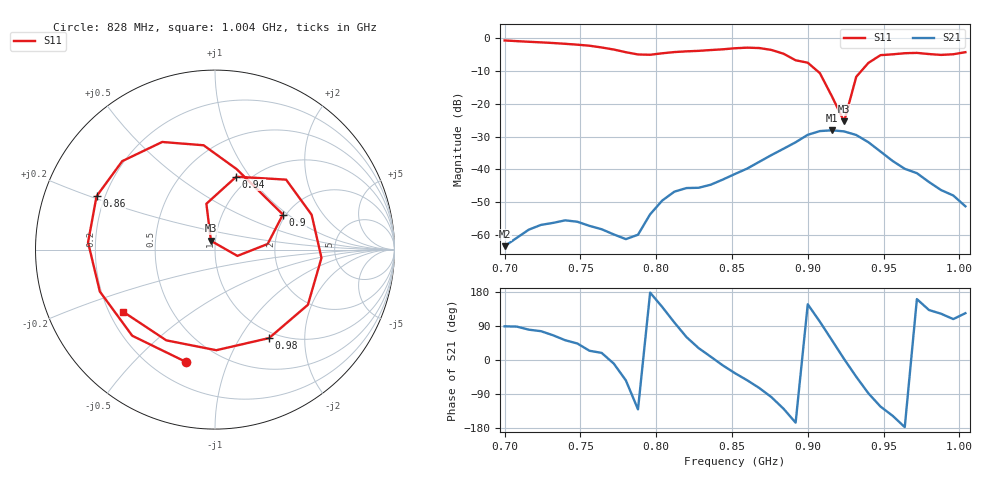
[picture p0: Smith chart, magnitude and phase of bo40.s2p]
# Hz S RI R 50
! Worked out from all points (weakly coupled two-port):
!   39 points, 700 MHz to 1.004 GHz, reference 50 ohm
!   highest |S21| = -28.08 dB at 916 MHz (marker M1); lowest = -63.5 dB at 700 MHz (marker M2)
!   lowest |S11| = -25.4 dB at 924 MHz (marker M3), VSWR 1.11, Z = 47.6 + j4.67 ohm
!   |S11| at or under -10 dB: 906.5 MHz to 935.2 MHz (28.74 MHz wide, 3.12 % of centre)
!   S12 and S22 are empty: the file has one direction only
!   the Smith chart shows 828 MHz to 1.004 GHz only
!   S11 on the Smith chart (normalised r, x): 828 MHz: 0.33, -0.72; 860 MHz: 0.17, +0.21; 900 MHz: 1.93, +0.92; 940 MHz: 0.87, +0.86; 980 MHz: 0.91, -1.35; 1.004 GHz: 0.26, -0.29
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7e8  0.7673 0.5299  1.31e-05 0.000667  0 0  0 0
7.24e8  0.8305 -0.2658  0.000341 0.00137  0 0  0 0
7.4e8  0.4413 -0.7011  0.00102 0.00131  0 0  0 0
7.56e8  -0.2022 -0.7476  0.00124 0.000563  0 0  0 0
7.72e8  -0.6547 -0.1749  0.000996 -0.000164  0 0  0 0
7.8e8  -0.564 0.2491  0.000505 -0.00069  0 0  0 0
7.88e8  -0.1934 0.5355  -0.000645 -0.000762  0 0  0 0
8.04e8  0.5842 0.1049  -0.00254 0.00214  0 0  0 0
8.2e8  0.2119 -0.599  0.00255 0.00449  0 0  0 0
8.28e8  -0.1605 -0.6265  0.00445 0.00272  0 0  0 0
8.52e8  -0.7073 0.0401  0.00696 -0.00484  0 0  0 0
8.6e8  -0.66 0.2971  0.0061 -0.00822  0 0  0 0
8.84e8  -0.0636 0.5813  -0.0128 -0.0161  0 0  0 0
9e8  0.3784 0.1955  -0.0283 0.0183  0 0  0 0
9.08e8  0.2934 0.0313  -0.00736 0.0377  0 0  0 0
9.16e8  0.1248 -0.0351  0.0243 0.0311  0 0  0 0
9.24e8  -0.0224 0.0489  0.0379 0.00165  0 0  0 0
9.32e8  -0.048 0.2553  0.0239 -0.0233  0 0  0 0
9.4e8  0.1183 0.406  0.000959 -0.0259  0 0  0 0
9.56e8  0.5384 0.1942  -0.0113 -0.00727  0 0  0 0
9.8e8  0.3012 -0.493  -0.00426 0.00476  0 0  0 0
1.004e9  -0.5099 -0.3474  -0.0015 0.00226  0 0  0 0
